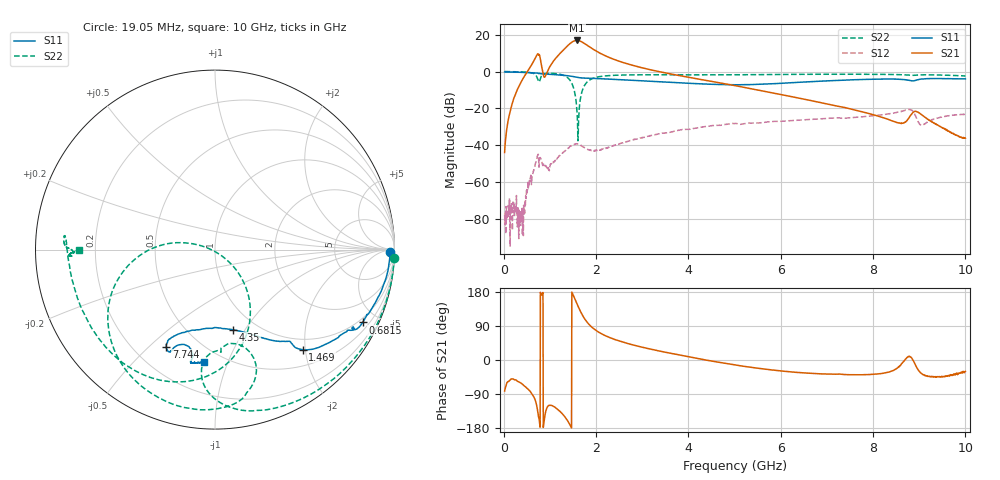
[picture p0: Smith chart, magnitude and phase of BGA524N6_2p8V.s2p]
! (c) 2013 Infineon Technologies AG
! BGA524N6 - SiGe Low Noise Amplifier for Global Navigation Satellite Systems (GNSS)
! 17 Sep. 2013
! Standard Application Board
! C1 = L1 = 0 Ohm
! C2 = 10 nF
! Vcc = 2.8V
! RF input and output lines de-embedded
! Port 1 reference plane: LNA input AI (pin 5)
! Port 2 reference plane: LNA output AO (pin 3)
! Network Data:
! Measured BGA924N6 device level s-parameters
# Hz S dB R 50
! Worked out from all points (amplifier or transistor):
!   1598 points, 19.05 MHz to 10 GHz, reference 50 ohm
!   highest |S21| = 16.9 dB at 1.588 GHz (marker M1)
!   |S21| within 3 dB of that: 1.377 GHz to 1.829 GHz (451.7 MHz wide, 28.2 % of centre)
!   unconditionally stable (mu >= 1): start of sweep to end of sweep
!   at 1.681 GHz: K = 3.96, MAG = 19.3 dB, |S12| = -40.2 dB
!   at 5.013 GHz: K = 8.22, MAG = -1.9 dB, |S12| = -28.3 dB
!   at 10 GHz: K = 120.91, MAG = -30.3 dB, |S12| = -23.3 dB
!   lowest NFmin = 0.59 dB at 1.55 GHz
!   S11 on the Smith chart (normalised r, x): 19.05 MHz: 60, -33; 681.5 MHz: 0.81, -4.14; 1.469 GHz: 0.79, -1.95; 4.35 GHz: 0.78, -0.89; 7.744 GHz: 0.33, -0.57; 10 GHz: 0.40, -0.82
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1.904944e7  -0.22 -0.8  -44.02 -82.0  -78.12 151.6  -0.00 -2.5
3.815386e8  -0.44 -15.1  -5.49 -61.5  -80.10 42.1  -0.21 -49.0
5.252842e8  -0.59 -20.4  0.47 -76.8  -60.26 -124.5  -0.45 -66.8
6.815296e8  -0.75 -26.3  7.27 -105.7  -50.61 -153.3  -1.61 -90.2
7.627771e8  -1.10 -29.2  8.94 -152.3  -51.99 149.9  -5.19 -86.5
8.315251e8  -1.26 -31.4  1.52 173.6  -49.76 126.1  -1.98 -75.6
9.315221e8  -1.42 -33.8  -0.93 -127.3  -52.01 138.3  -1.00 -91.3
1.106517e9  -1.68 -38.6  6.65 -124.3  -48.84 162.4  -1.11 -111.8
1.33151e9  -2.13 -44.9  12.74 -151.2  -43.09 155.6  -2.47 -141.5
1.469006e9  -2.60 -48.7  15.85 -179.3  -40.34 141.2  -6.13 -169.4
1.587752e9  -3.16 -50.7  16.89 148.0  -39.31 123.0  -22.03 164.5
1.687749e9  -3.49 -50.8  16.17 122.2  -40.38 111.5  -11.56 -50.2
1.843995e9  -3.67 -51.1  13.64 94.4  -42.58 111.8  -4.90 -76.1
2.056488e9  -3.89 -53.1  10.35 73.3  -42.71 124.5  -2.86 -95.8
2.537724e9  -4.46 -57.8  5.29 48.7  -39.00 138.8  -1.94 -117.9
3.3502e9  -5.53 -64.8  0.03 24.2  -33.94 137.2  -1.77 -139.0
4.35017e9  -6.78 -77.4  -4.70 0.5  -29.98 129.4  -1.81 -160.7
5.01265e9  -7.25 -89.7  -7.71 -13.0  -28.28 119.4  -1.77 -172.9
6.6751e9  -5.50 -115.2  -15.91 -35.3  -25.98 114.8  -1.51 174.7
7.743818e9  -4.36 -116.7  -21.77 -39.0  -24.64 113.7  -1.49 177.1
8.33755e9  -4.10 -114.4  -26.13 -32.1  -23.05 112.1  -1.59 178.8
1e10  -4.01 -95.7  -36.23 -30.0  -23.27 117.0  -2.41 180.0
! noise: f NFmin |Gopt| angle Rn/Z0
1.55e+09  0.5879  0.6169  41.82  0.2399
1.557e+09  0.5891  0.6165  42  0.2397
1.564e+09  0.5903  0.616  42.17  0.2396
1.571e+09  0.5915  0.6155  42.35  0.2394
1.578e+09  0.5927  0.615  42.53  0.2392
1.586e+09  0.5941  0.6144  42.73  0.239
1.593e+09  0.5954  0.6139  42.91  0.2389
1.6e+09  0.5966  0.6134  43.09  0.2387
1.607e+09  0.598  0.613  43.26  0.2386
1.615e+09  0.5995  0.6124  43.47  0.2384
